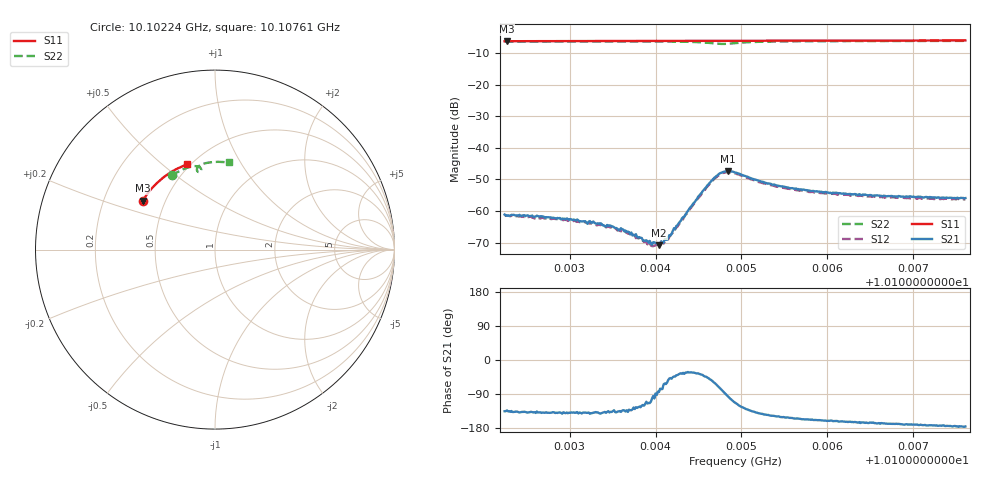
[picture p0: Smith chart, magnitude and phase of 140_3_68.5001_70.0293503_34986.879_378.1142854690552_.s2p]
#  HZ  S  RI  R  50.00
! Rohde & Schwarz Vector Network Analyzer
! Rohde-Schwarz,ZNB20-2Port,1311601062101988,3.16
! Created: UTC 3/20/2024, 4:54:51 PM
! freq[Hz]  re:S11  im:S11  re:S21  im:S21  re:S12  im:S12  re:S22  im:S22
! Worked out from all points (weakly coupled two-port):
!   401 points, 10.10224 GHz to 10.10761 GHz, reference 50 ohm
!   highest |S21| = -47.35 dB at 10.10485 GHz (marker M1); lowest = -70.8 dB at 10.10404 GHz (marker M2)
!   lowest |S11| = -6.3 dB at 10.10227 GHz (marker M3), VSWR 2.89, Z = 18.7 + j13.3 ohm
!   |S11| at or under -10 dB: nowhere
!   |S22| runs from -7.1 to -6.2 dB; largest |S21 - S12| = 0.00042
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1.0102242e10  -0.4033 0.2713  -0.000625 -0.000618  -0.000556 -0.000608  -0.2415 0.413
1.0102268e10  -0.4025 0.2724  -0.000577 -0.000617  -0.000553 -0.00064  -0.2402 0.4141
1.0102644e10  -0.3901 0.2919  -0.000607 -0.000544  -0.000522 -0.000566  -0.219 0.4267
1.0103141e10  -0.3726 0.3164  -0.00053 -0.000429  -0.000468 -0.000468  -0.1895 0.442
1.0103248e10  -0.3684 0.3215  -0.000505 -0.000421  -0.000449 -0.000451  -0.183 0.4449
1.010349e10  -0.3591 0.3329  -0.000419 -0.000389  -0.00038 -0.000409  -0.1678 0.4513
1.0103557e10  -0.3566 0.3359  -0.000377 -0.000362  -0.000315 -0.000377  -0.1634 0.453
1.0103624e10  -0.3539 0.3392  -0.000342 -0.000376  -0.000311 -0.000363  -0.159 0.4547
1.0103732e10  -0.3494 0.3439  -0.000265 -0.000313  -0.000223 -0.000336  -0.1518 0.457
1.0103973e10  -0.3396 0.3547  -2.74e-05 -0.000319  -4.68e-06 -0.000277  -0.1346 0.4621
1.010404e10  -0.3368 0.3576  2.76e-05 -0.000286  5.41e-05 -0.00028  -0.1295 0.4632
1.0104121e10  -0.3332 0.3611  0.000157 -0.000315  0.000177 -0.000291  -0.1231 0.4644
1.0104161e10  -0.3314 0.3629  0.000275 -0.000313  0.000237 -0.000309  -0.1198 0.4647
1.0104524e10  -0.3155 0.378  0.00146 -0.00112  0.00147 -0.000947  -0.0858 0.4595
1.0104658e10  -0.3094 0.3834  0.00178 -0.00249  0.0019 -0.00225  -0.0768 0.4454
1.0104752e10  -0.3052 0.3871  0.00107 -0.00382  0.00134 -0.00352  -0.0818 0.4337
1.0104846e10  -0.301 0.3907  -0.000494 -0.00426  -0.000145 -0.00409  -0.0944 0.4332
1.0104926e10  -0.2972 0.3937  -0.00155 -0.00376  -0.00117 -0.00374  -0.1005 0.4418
1.0105302e10  -0.2795 0.4079  -0.00221 -0.00155  -0.002 -0.00169  -0.0799 0.472
1.0105826e10  -0.2534 0.4261  -0.0019 -0.000805  -0.00178 -0.000956  -0.0414 0.4838
1.0106725e10  -0.2061 0.4532  -0.00168 -0.000345  -0.00158 -0.000503  0.0193 0.4889
1.0107611e10  -0.1568 0.4744  -0.0016 -0.000126  -0.0015 -0.000263  0.0768 0.4857
